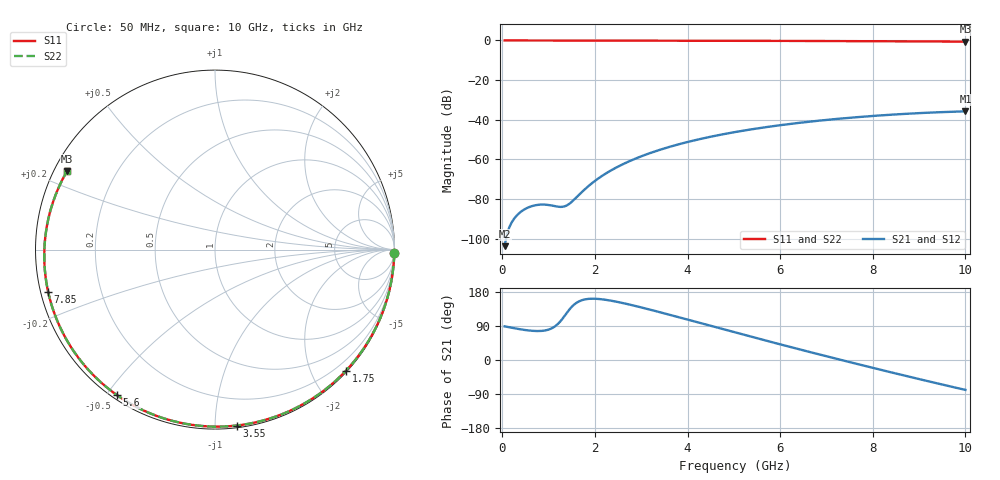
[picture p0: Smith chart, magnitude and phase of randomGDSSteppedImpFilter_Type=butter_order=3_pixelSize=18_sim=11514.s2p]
! freq	dB(S11)	phase(S11)	dB(S12)	phase(S12)
!  dB(S21)	phase(S21)	dB(S22)	phase(S22)
!S-par simulation data
#  GHz  S  DB  R 50
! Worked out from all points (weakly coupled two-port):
!   200 points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, 50 MHz to 10 GHz, reference 50 ohm
!   highest |S21| = -35.79 dB at 10 GHz (marker M1); lowest = -103.8 dB at 50 MHz (marker M2)
!   lowest |S11| = -0.6 dB at 10 GHz (marker M3), VSWR 28.95, Z = 1.83 + j12.4 ohm
!   |S11| at or under -10 dB: nowhere
!   |S22| runs from -0.6 to 0.0 dB; largest |S21 - S12| = 0
!   S11 on the Smith chart (normalised r, x): 50 MHz: 2, -95; 1.75 GHz: 0.02, -2.56; 3.55 GHz: 0.01, -1.13; 5.6 GHz: 0.01, -0.53; 7.85 GHz: 0.02, -0.12; 10 GHz: 0.04, +0.25
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0.05  -0.00 -1.2  -103.83 88.8  -103.83 88.8  -0.00 -1.2
0.45  -0.02 -11.2  -85.66 79.9  -85.66 79.9  -0.02 -11.2
0.8  -0.03 -19.8  -82.90 76.5  -82.90 76.5  -0.03 -19.8
1.55  -0.05 -38.0  -80.36 146.1  -80.36 146.1  -0.05 -37.9
1.6  -0.05 -39.1  -79.22 150.7  -79.22 150.7  -0.05 -39.1
1.75  -0.05 -42.7  -75.81 158.9  -75.81 158.9  -0.05 -42.7
2.05  -0.06 -49.7  -70.04 161.3  -70.04 161.3  -0.06 -49.7
2.25  -0.07 -54.3  -66.94 158.5  -66.94 158.5  -0.07 -54.3
2.45  -0.07 -58.9  -64.28 154.2  -64.28 154.2  -0.07 -58.9
2.9  -0.09 -69.0  -59.41 141.8  -59.41 141.8  -0.09 -68.9
3.4  -0.10 -79.8  -55.21 126.2  -55.21 126.2  -0.10 -79.8
3.55  -0.11 -83.0  -54.13 121.4  -54.13 121.4  -0.11 -83.0
4.3  -0.14 -98.6  -49.60 96.7  -49.60 96.7  -0.14 -98.5
5.05  -0.17 -113.4  -46.14 72.1  -46.14 72.1  -0.17 -113.4
5.6  -0.20 -124.0  -44.08 54.2  -44.08 54.2  -0.20 -123.9
6.15  -0.23 -134.4  -42.33 36.5  -42.33 36.5  -0.23 -134.3
6.7  -0.27 -144.6  -40.83 19.2  -40.83 19.2  -0.27 -144.5
7.3  -0.32 -155.7  -39.44 0.6  -39.44 0.6  -0.32 -155.6
7.85  -0.36 -165.9  -38.37 -16.1  -38.37 -16.1  -0.36 -165.8
8.35  -0.41 -175.2  -37.54 -31.2  -37.54 -31.2  -0.41 -175.2
9.2  -0.51 168.3  -36.46 -56.2  -36.46 -56.2  -0.51 168.4
10  -0.60 152.1  -35.79 -78.8  -35.79 -78.8  -0.60 152.2
